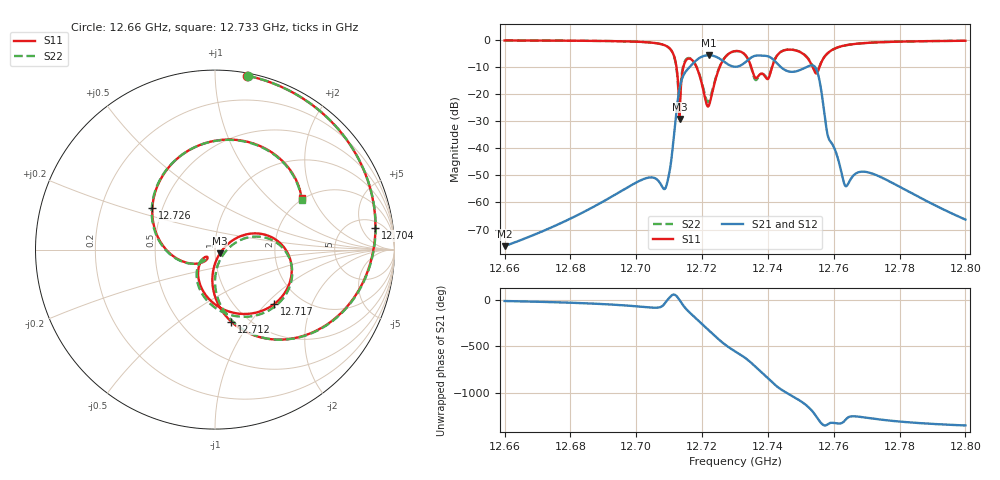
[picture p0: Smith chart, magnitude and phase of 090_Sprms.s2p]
! TOUCHSTONE file generated by CST MICROWAVE STUDIO
! Date and time: Wed Jul 31 15:16:48 2024
! Project name: WaveGuide_BPF-Ver4.1_U-shape_Ku_T3_C4_CWA_2.cst
! Parameters = {cavity_h=16; cavity_l0=10; cavity_l1=15.1662; cavity_l2=16.8302; cavity_l3=17.0742; cavity_l4=17.2665; cavity_l5=17.1191; cavity_l6=17.5779; cavity_r=2.5; cavity_screw_l=0.5; cavity_screw_r=1.5; cavity_w=8; iris_h00=0; iris_h01=8.808; iris_h112=0; iris_h12=5.5948; iris_h211=3.6545; i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
! Header version: 2018
! Port assignment regex: !\s*Touchstone port\s*([0-9]+)\s*=\s*(CST MWS port|CST DS port)\s*([0-9]+|Zmin|Zmax)\s*\(\"(.*)\"\)(\s*mode\s*([0-9]+))?.*
! Touchstone port assignment:
! Touchstone port 1 = CST MWS port 1 ("")
! Touchstone port 2 = CST MWS port 2 ("")
# GHz S RI R 50
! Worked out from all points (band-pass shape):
!   5001 points, 12.66 GHz to 12.8 GHz, reference 50 ohm
!   highest |S21| = -5.60 dB at 12.722 GHz (marker M1); lowest = -76.2 dB at 12.66 GHz (marker M2)
!   |S21| within 3 dB of the highest: 12.71727 GHz to 12.7274 GHz (10.12 MHz wide, 0.0796 % of centre); 12.7327 GHz to 12.74278 GHz (10.08 MHz wide, 0.0791 % of centre)
!   lowest |S11| = -29.2 dB at 12.713 GHz (marker M3), VSWR 1.07, Z = 52.8 - j2.25 ohm
!   |S11| at or under -10 dB: 12.71222 GHz to 12.71431 GHz (2.091 MHz wide, 0.0165 % of centre); 12.71832 GHz to 12.72532 GHz (7.005 MHz wide, 0.0551 % of centre); 12.73494 GHz to 12.74126 GHz (6.32 MHz wide, 0.0496 % of centre)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
!   |S22| runs from -25.4 to -0.1 dB; largest |S21 - S12| = 1e-09
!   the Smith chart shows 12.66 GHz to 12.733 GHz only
!   S11 on the Smith chart (normalised r, x): 12.66 GHz: 0.02, +1.20; 12.704 GHz: 7, +9; 12.712 GHz: 0.84, -0.81; 12.717 GHz: 1.48, -1.12; 12.726 GHz: 0.44, +0.25; 12.733 GHz: 1.96, +1.64
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12.66  0.1784 0.9692  0.000151 -3.81e-05  0.000151 -3.81e-05  0.1828 0.9684
12.68335  0.5117 0.8273  0.000507 -0.000381  0.000507 -0.000381  0.517 0.824
12.70427  0.8939 0.1214  0.00031 -0.00289  0.00031 -0.00289  0.8952 0.1127
12.70668  0.8588 -0.0971  0.000234 -0.00252  0.000234 -0.00252  0.8582 -0.1056
12.70934  0.657 -0.3931  0.00222 -0.000297  0.00222 -0.000297  0.6535 -0.3992
12.71188  0.0909 -0.4016  0.0213 0.0245  0.0213 0.0245  0.0886 -0.3903
12.71314  0.0275 -0.0213  0.1258 -0.00816  0.1258 -0.00816  0.0586 -0.011
12.71653  0.33 -0.3033  -0.2834 -0.176  -0.2834 -0.176  0.3127 -0.3317
12.72202  -0.0411 -0.0452  0.4437 0.2802  0.4437 0.2802  -0.0524 -0.0515
12.7263  -0.349 0.2319  -0.0903 -0.4038  -0.0903 -0.4038  -0.3521 0.232
12.73  0.16 0.6053  -0.3131 0.0749  -0.3131 0.0749  0.1596 0.6033
12.73274  0.4824 0.2865  -0.0946 0.3609  -0.0946 0.3609  0.4821 0.2778
12.73624  0.1902 0.0583  0.5147 0.00586  0.5147 0.00586  0.1736 0.057
12.73896  0.1991 0.0949  0.0263 -0.5132  0.0263 -0.5132  0.1975 0.108
12.74145  0.1951 0.2835  -0.4414 -0.0709  -0.4414 -0.0709  0.2092 0.2835
12.74579  0.6433 -0.1652  0.0493 0.2651  0.0493 0.2651  0.6399 -0.1815
12.74971  0.0666 -0.6008  0.279 -0.00801  0.279 -0.00801  0.0574 -0.6061
12.75335  -0.3418 -0.0236  -0.1106 -0.3232  -0.1106 -0.3232  -0.3542 -0.038
12.75778  0.242 0.4868  -0.00244 0.0233  -0.00244 0.0233  0.2329 0.4894
12.76343  0.5915 -0.5367  -0.00173 0.00111  -0.00173 0.00111  0.5844 -0.5421
12.77668  -0.5792 -0.7222  -0.00205 0.00141  -0.00205 0.00141  -0.5897 -0.7144
12.8  -0.9718 0.0225  -1.87e-05 0.000482  -1.87e-05 0.000482  -0.9719 0.0299
